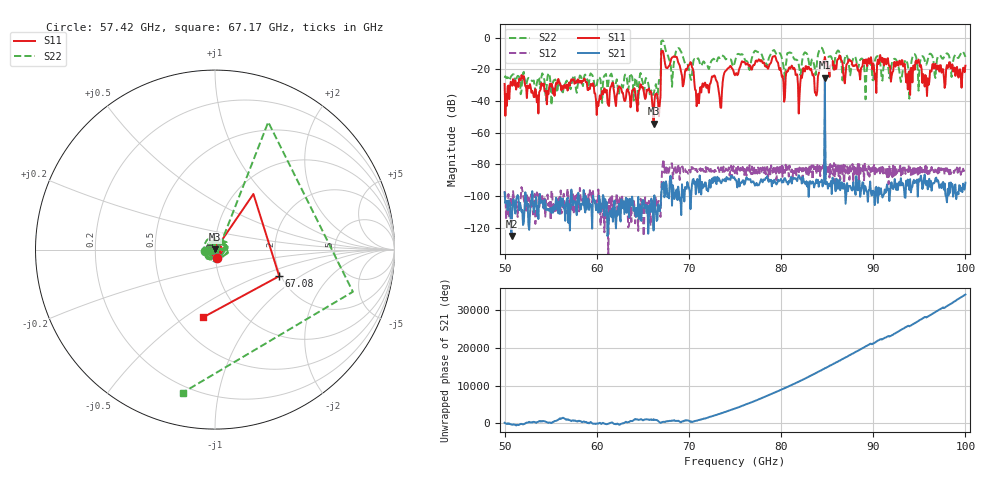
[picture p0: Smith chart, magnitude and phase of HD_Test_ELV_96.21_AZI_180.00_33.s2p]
! 11/25/2026 9:22:14 AM
! C:\ANRITSUVNA\TEMP\TEMP.S2P
! CHANNEL.1
! TR.MEASUREMENT
! RAW.DATA
# HZ S RI R 50.0
! FREQ.HZ  S11RE  S11IM  S21RE  S21IM  S12RE  S12IM  S22RE  S22IM
!; PortSelection: Port_12
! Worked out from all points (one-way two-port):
!   601 points, 50 GHz to 100 GHz, reference 50 ohm
!   highest |S21| = -25.20 dB at 84.75 GHz (marker M1); lowest = -125.4 dB at 50.75 GHz (marker M2)
!   lowest |S11| = -54.3 dB at 66.17 GHz (marker M3), VSWR 1.00, Z = 50.1 + j0.15 ohm
!   |S11| at or under -10 dB: start of sweep to 67 GHz; 67.24 GHz to end of sweep
!   |S22| runs from -42.6 to -1.8 dB; largest |S21 - S12| = 0.055
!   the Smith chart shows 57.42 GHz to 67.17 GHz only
!   S11 on the Smith chart (normalised r, x): 57.42 GHz: 1.02, -0.10; 67.08 GHz: 1.96, -0.68; 67.17 GHz: 0.67, -0.59
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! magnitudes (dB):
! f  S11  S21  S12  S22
! 50 GHz  -29.2  -97.9  -96.9  -25.4
! 50.75 GHz  -29.2  -125.4  -101.1  -24.0
! 57.42 GHz  -26.3  -106.1  -98.9  -25.2
! 58.42 GHz  -27.2  -104.9  -104.0  -29.0
! 60.17 GHz  -43.2  -110.6  -95.9  -24.8
! 61.67 GHz  -28.7  -107.9  -100.1  -24.5
! 66.17 GHz  -54.3  -121.9  -106.0  -35.4
! 66.67 GHz  -41.9  -105.4  -103.3  -32.1
! 67.08 GHz  -8.2  -92.1  -83.9  -1.9
! 67.17 GHz  -8.3  -95.5  -79.8  -1.8
! 70.17 GHz  -15.4  -108.4  -85.2  -25.7
! 70.92 GHz  -40.5  -89.3  -84.9  -13.3
! 75 GHz  -23.7  -89.7  -85.7  -15.0
! 79.25 GHz  -11.8  -89.8  -84.9  -7.9
! 80.25 GHz  -27.5  -91.4  -81.4  -17.6
! 83.42 GHz  -23.8  -90.9  -89.6  -13.7
! 84.75 GHz  -12.2  -25.2  -50.3  -11.8
! 91.67 GHz  -16.7  -95.5  -92.7  -20.4
! 93.75 GHz  -32.7  -89.7  -84.9  -17.3
! 94.83 GHz  -15.0  -100.4  -86.6  -20.3
! 95.83 GHz  -36.9  -90.5  -81.8  -15.9
! 100 GHz  -17.7  -91.6  -84.0  -12.2
